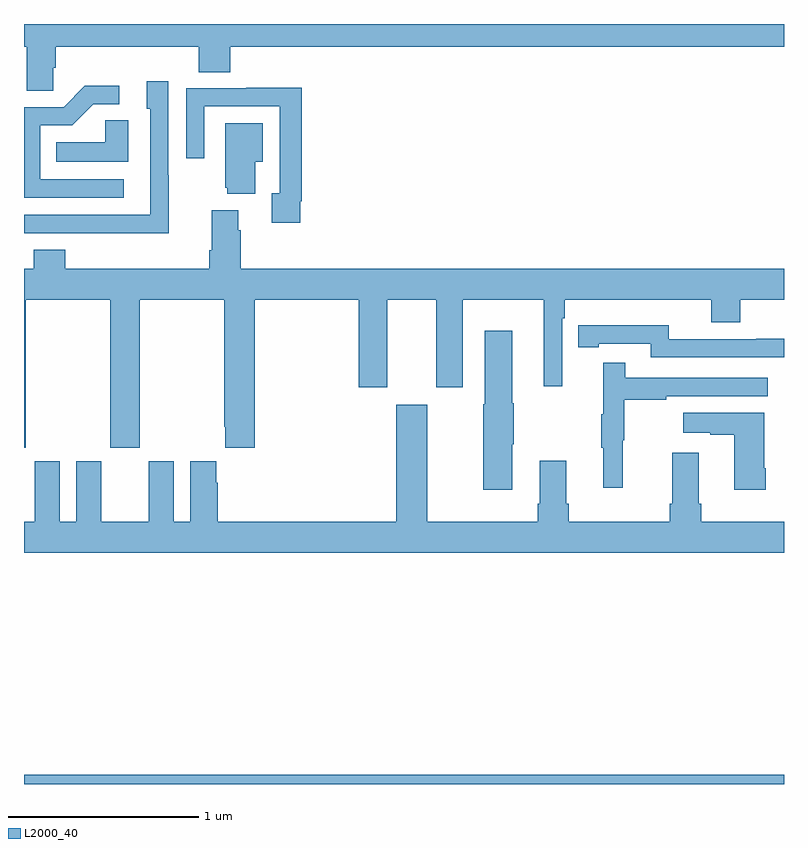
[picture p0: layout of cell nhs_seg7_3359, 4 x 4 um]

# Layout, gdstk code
import gdstk
lib = gdstk.Library(unit=1e-6, precision=1e-09)
def R(c, l, rs):  # rectangles x0, y0, x1, y1
    for r in rs: c.add(gdstk.rectangle(r[:2], r[2:], *l))
def P(c, l, *ps):  # polygons
    for p in ps: c.add(gdstk.Polygon(p, *l))
L2000_40 = (2000, 40)

nhs_seg7_3359 = lib.new_cell('nhs_seg7_3359')
R(nhs_seg7_3359, L2000_40, [(323,1066,327,1066.048)])
P(nhs_seg7_3359, L2000_40, [(323.154,1069.771),(323.168,1069.771),(323.168,1069.88),(323.921,1069.88),(323.921,1069.747),(324.086,1069.747),(324.086,1069.88),(327,1069.88),(327,1070),(323,1070),(323,1069.88),(323.015,1069.88),(323.015,1069.648),(323.154,1069.648)],
  [(323.763,1069.205),(323.76,1069.205),(323.76,1069.699),(323.645,1069.699),(323.645,1069.554),(323.664,1069.554),(323.664,1068.996),(323,1068.996),(323,1068.9),(323.299,1068.9),(323.299,1068.899),(323.763,1068.899)],
  [(323.524,1069.182),(323.085,1069.182),(323.085,1069.467),(323.254,1069.467),(323.365,1069.578),(323.5,1069.578),(323.5,1069.676),(323.321,1069.676),(323.208,1069.563),(323,1069.563),(323,1069.086),(323.524,1069.086)],
  [(324.454,1069.066),(324.461,1069.066),(324.461,1069.664),(324.169,1069.664),(324.169,1069.662),(323.853,1069.662),(323.853,1069.293),(323.949,1069.293),(323.949,1069.566),(324.345,1069.566),(324.345,1069.11),(324.305,1069.11),(324.305,1068.954),(324.454,1068.954)],
  [(323.548,1069.493),(323.427,1069.493),(323.427,1069.378),(323.17,1069.378),(323.17,1069.274),(323.548,1069.274)],
  [(324.217,1069.274),(324.256,1069.274),(324.256,1069.477),(324.059,1069.477),(324.059,1069.137),(324.071,1069.137),(324.071,1069.106),(324.217,1069.106)],
  [(323.01,1068.548),(323.455,1068.548),(323.455,1067.769),(323.61,1067.769),(323.61,1068.548),(324.055,1068.548),(324.055,1067.881),(324.059,1067.881),(324.059,1067.769),(324.215,1067.769),(324.215,1068.548),(324.761,1068.548),(324.761,1068.087),(324.913,1068.087),(324.913,1068.548),(325.169,1068.548),(325.169,1068.087),(325.309,1068.087),(325.309,1068.548),(325.736,1068.548),(325.736,1068.093),(325.833,1068.093),(325.833,1068.452),(325.847,1068.452),(325.847,1068.548),(326.618,1068.548),(326.618,1068.431),(326.771,1068.431),(326.771,1068.548),(327,1068.548),(327,1068.712),(324.14,1068.712),(324.14,1068.914),(324.127,1068.914),(324.127,1069.021),(323.987,1069.021),(323.987,1068.808),(323.975,1068.808),(323.975,1068.712),(323.216,1068.712),(323.216,1068.811),(323.051,1068.811),(323.051,1068.712),(323,1068.712),(323,1067.769),(323.01,1067.769)],
  [(327,1068.344),(326.854,1068.344),(326.854,1068.342),(326.394,1068.342),(326.394,1068.415),(326.026,1068.415),(326.026,1068.414),(325.918,1068.414),(325.918,1068.298),(326.026,1068.298),(326.026,1068.318),(326.298,1068.318),(326.298,1068.246),(327,1068.246)],
  [(325.57,1067.788),(325.578,1067.788),(325.578,1068.005),(325.57,1068.005),(325.57,1068.385),(325.424,1068.385),(325.424,1067.999),(325.417,1067.999),(325.417,1067.55),(325.57,1067.55)],
  [(326.15,1067.808),(326.158,1067.808),(326.158,1068.022),(326.381,1068.022),(326.381,1068.042),(326.914,1068.042),(326.914,1068.138),(326.165,1068.138),(326.165,1068.217),(326.048,1068.217),(326.048,1067.945),(326.037,1067.945),(326.037,1067.771),(326.048,1067.771),(326.048,1067.559),(326.15,1067.559)],
  [(327,1067.38),(326.564,1067.38),(326.564,1067.476),(326.551,1067.476),(326.551,1067.743),(326.411,1067.743),(326.411,1067.476),(326.399,1067.476),(326.399,1067.38),(325.868,1067.38),(325.868,1067.476),(325.855,1067.476),(325.855,1067.701),(325.715,1067.701),(325.715,1067.476),(325.703,1067.476),(325.703,1067.38),(325.123,1067.38),(325.123,1067.995),(324.959,1067.995),(324.959,1067.38),(324.02,1067.38),(324.02,1067.585),(324.013,1067.585),(324.013,1067.698),(323.876,1067.698),(323.876,1067.38),(323.788,1067.38),(323.788,1067.698),(323.657,1067.698),(323.657,1067.38),(323.407,1067.38),(323.407,1067.698),(323.276,1067.698),(323.276,1067.38),(323.188,1067.38),(323.188,1067.698),(323.057,1067.698),(323.057,1067.38),(323,1067.38),(323,1067.216),(327,1067.216)],
  [(326.904,1067.662),(326.896,1067.662),(326.896,1067.953),(326.469,1067.953),(326.469,1067.849),(326.612,1067.849),(326.612,1067.839),(326.738,1067.839),(326.738,1067.55),(326.904,1067.55)])

lib.write_gds('nhs_seg7_3359.gds')
